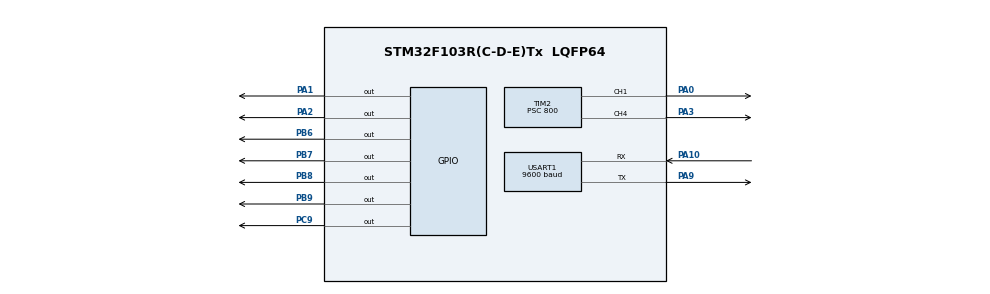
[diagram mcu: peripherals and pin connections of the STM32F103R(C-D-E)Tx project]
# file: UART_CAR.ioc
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Mcu.Family=STM32F1
Mcu.Name=STM32F103R(C-D-E)Tx
Mcu.Package=LQFP64
NVIC.PriorityGroup=NVIC_PRIORITYGROUP_4
NVIC.USART1_IRQn=true\:0\:0\:false
PA0-WKUP.Signal=S_TIM2_CH1_ETR
PA1.Signal=GPIO_Output
PA10.Mode=Asynchronous
PA10.Signal=USART1_RX
PA13.Mode=Serial_Wire
PA13.Signal=SYS_JTMS-SWDIO
PA14.Mode=Serial_Wire
PA14.Signal=SYS_JTCK-SWCLK
PA2.Signal=GPIO_Output
PA3.Signal=S_TIM2_CH4
PA9.Mode=Asynchronous
PA9.Signal=USART1_TX
PB6.Signal=GPIO_Output
PB7.Signal=GPIO_Output
PB8.Signal=GPIO_Output
PB9.Signal=GPIO_Output
PC9.Signal=GPIO_Output
ProjectManager.TargetToolchain=MDK-ARM V5
RCC.APB1Freq_Value=8000000
RCC.APB2Freq_Value=8000000
SH.S_TIM2_CH1_ETR.0=TIM2_CH1,PWM Generation1 CH1
SH.S_TIM2_CH4.0=TIM2_CH4,PWM Generation4 CH4
TIM2.Channel-PWM\ Generation4\ CH4=TIM_CHANNEL_4
TIM2.Period=999
TIM2.Prescaler=800
TIM2.Pulse-PWM\ Generation1\ CH1=999
TIM2.Pulse-PWM\ Generation4\ CH4=999
USART1.BaudRate=9600
board=UART_CAR

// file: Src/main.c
/**
  ******************************************************************************
  * File Name          : main.c
  * Description        : Main program body
  ******************************************************************************
  *
  * COPYRIGHT(c) 2021 STMicroelectronics
  *
  * Redistribution and use in source and binary forms, with or without modification,
  * are permitted provided that the following conditions are met:
  *   1. Redistributions of source code must retain the above copyright notice,
  *      this list of conditions and the following disclaimer.
  *   2. Redistributions in binary form must reproduce the above copyright notice,
  *      this list of conditions and the following disclaimer in the documentation
  *      and/or other materials provided with the distribution.
  *   3. Neither the name of STMicroelectronics nor the names of its contributors
  *      may be used to endorse or promote products derived from this software
  *      without specific prior written permission.
  *
  * THIS SOFTWARE IS PROVIDED BY THE COPYRIGHT HOLDERS AND CONTRIBUTORS "AS IS"
  * AND ANY EXPRESS OR IMPLIED WARRANTIES, INCLUDING, BUT NOT LIMITED TO, THE
  * IMPLIED WARRANTIES OF MERCHANTABILITY AND FITNESS FOR A PARTICULAR PURPOSE ARE
  * DISCLAIMED. IN NO EVENT SHALL THE COPYRIGHT HOLDER OR CONTRIBUTORS BE LIABLE
  * FOR ANY DIRECT, INDIRECT, INCIDENTAL, SPECIAL, EXEMPLARY, OR CONSEQUENTIAL
  * DAMAGES (INCLUDING, BUT NOT LIMITED TO, PROCUREMENT OF SUBSTITUTE GOODS OR
  * SERVICES; LOSS OF USE, DATA, OR PROFITS; OR BUSINESS INTERRUPTION) HOWEVER
  * CAUSED AND ON ANY THEORY OF LIABILITY, WHETHER IN CONTRACT, STRICT LIABILITY,
  * OR TORT (INCLUDING NEGLIGENCE OR OTHERWISE) ARISING IN ANY WAY OUT OF THE USE
  * OF THIS SOFTWARE, EVEN IF ADVISED OF THE POSSIBILITY OF SUCH DAMAGE.
  *
  ******************************************************************************
  */
#include "stm32f1xx_hal.h"

/* USER CODE BEGIN Includes */
#define MOTOR_A_EN_GPIO GPIOA
#define MOTOR_A_EN_PIN GPIO_PIN_0

#define MOTOR_A_CON1_GPIO GPIOA
#define MOTOR_A_CON1_PIN GPIO_PIN_2

#define MOTOR_A_CON2_GPIO GPIOB
#define MOTOR_A_CON2_PIN GPIO_PIN_9

#define MOTOR_B_CON1_GPIO GPIOA
#define MOTOR_B_CON1_PIN GPIO_PIN_1

#define MOTOR_B_CON2_GPIO GPIOC
#define MOTOR_B_CON2_PIN GPIO_PIN_9

#define MOTOR_B_EN_GPIO GPIOA
#define MOTOR_B_EN_PIN GPIO_PIN_3
/* USER CODE END Includes */

TIM_HandleTypeDef htim2;

UART_HandleTypeDef huart1;

/* USER CODE BEGIN PV */
/* Private variables ---------------------------------------------------------*/

/* USER CODE END PV */

void SystemClock_Config(void);
static void MX_GPIO_Init(void);
static void MX_TIM2_Init(void);
static void MX_USART1_UART_Init(void);

/* USER CODE BEGIN PFP */
/* Private function prototypes -----------------------------------------------*/
void Change_Pulse(uint16_t left,uint16_t right);
void go_left(void);
void go_right(void);
void Straight(void);
void StraightB(void);
void Stop(void);

/* USER CODE END PFP */

/* USER CODE BEGIN 0 */
uint8_t c[2] = {0};
/* USER CODE END 0 */

int main(void)
{

  /* MCU Configuration----------------------------------------------------------*/

  /* Reset of all peripherals, Initializes the Flash interface and the Systick. */
  HAL_Init();

  /* Configure the system clock */
  SystemClock_Config();

  /* Initialize all configured peripherals */
  MX_GPIO_Init();
  MX_TIM2_Init();
  MX_USART1_UART_Init();

  /* USER CODE BEGIN 2 */
	HAL_TIM_PWM_Start(&htim2, TIM_CHANNEL_1);
	HAL_TIM_PWM_Start(&htim2, TIM_CHANNEL_4);

	HAL_GPIO_WritePin(GPIOB,GPIO_PIN_6,GPIO_PIN_SET);
	HAL_GPIO_WritePin(GPIOB,GPIO_PIN_7,GPIO_PIN_SET);
	HAL_GPIO_WritePin(GPIOB,GPIO_PIN_8,GPIO_PIN_SET);
  /* USER CODE END 2 */

  /* Infinite loop */
  while (1)
  {
		HAL_UART_Receive_IT(&huart1, c, 2);
  }

}

/** System Clock Configuration
*/
void SystemClock_Config(void)
{

  RCC_OscInitTypeDef RCC_OscInitStruct;
  RCC_ClkInitTypeDef RCC_ClkInitStruct;

  RCC_OscInitStruct.OscillatorType = RCC_OSCILLATORTYPE_HSI;
  RCC_OscInitStruct.HSIState = RCC_HSI_ON;
  RCC_OscInitStruct.HSICalibrationValue = 16;
  RCC_OscInitStruct.PLL.PLLState = RCC_PLL_NONE;
  HAL_RCC_OscConfig(&RCC_OscInitStruct);

  RCC_ClkInitStruct.ClockType = RCC_CLOCKTYPE_SYSCLK;
  RCC_ClkInitStruct.SYSCLKSource = RCC_SYSCLKSOURCE_HSI;
  RCC_ClkInitStruct.AHBCLKDivider = RCC_SYSCLK_DIV1;
  RCC_ClkInitStruct.APB1CLKDivider = RCC_HCLK_DIV1;
  RCC_ClkInitStruct.APB2CLKDivider = RCC_HCLK_DIV1;
  HAL_RCC_ClockConfig(&RCC_ClkInitStruct, FLASH_LATENCY_0);

  HAL_SYSTICK_Config(HAL_RCC_GetHCLKFreq()/1000);

  HAL_SYSTICK_CLKSourceConfig(SYSTICK_CLKSOURCE_HCLK);

}

/* TIM2 init function */
void MX_TIM2_Init(void)
{

  TIM_MasterConfigTypeDef sMasterConfig;
  TIM_OC_InitTypeDef sConfigOC;

  htim2.Instance = TIM2;
  htim2.Init.Prescaler = 800;
  htim2.Init.CounterMode = TIM_COUNTERMODE_UP;
  htim2.Init.Period = 999;
  htim2.Init.ClockDivision = TIM_CLOCKDIVISION_DIV1;
  HAL_TIM_PWM_Init(&htim2);

  sMasterConfig.MasterOutputTrigger = TIM_TRGO_RESET;
  sMasterConfig.MasterSlaveMode = TIM_MASTERSLAVEMODE_DISABLE;
  HAL_TIMEx_MasterConfigSynchronization(&htim2, &sMasterConfig);

  sConfigOC.OCMode = TIM_OCMODE_PWM1;
  sConfigOC.Pulse = 999;
  sConfigOC.OCPolarity = TIM_OCPOLARITY_HIGH;
  sConfigOC.OCFastMode = TIM_OCFAST_DISABLE;
  HAL_TIM_PWM_ConfigChannel(&htim2, &sConfigOC, TIM_CHANNEL_1);

  HAL_TIM_PWM_ConfigChannel(&htim2, &sConfigOC, TIM_CHANNEL_4);

}

/* USART1 init function */
void MX_USART1_UART_Init(void)
{

  huart1.Instance = USART1;
  huart1.Init.BaudRate = 9600;
  huart1.Init.WordLength = UART_WORDLENGTH_8B;
  huart1.Init.StopBits = UART_STOPBITS_1;
  huart1.Init.Parity = UART_PARITY_NONE;
  huart1.Init.Mode = UART_MODE_TX_RX;
  huart1.Init.HwFlowCtl = UART_HWCONTROL_NONE;
  huart1.Init.OverSampling = UART_OVERSAMPLING_16;
  HAL_UART_Init(&huart1);

}

/** Configure pins as
        * Analog
        * Input
        * Output
        * EVENT_OUT
        * EXTI
*/
void MX_GPIO_Init(void)
{

  GPIO_InitTypeDef GPIO_InitStruct;

  /* GPIO Ports Clock Enable */
  __GPIOA_CLK_ENABLE();
  __GPIOC_CLK_ENABLE();
  __GPIOB_CLK_ENABLE();

  /*Configure GPIO pins : PA1 PA2 */
  GPIO_InitStruct.Pin = GPIO_PIN_1|GPIO_PIN_2;
  GPIO_InitStruct.Mode = GPIO_MODE_OUTPUT_PP;
  GPIO_InitStruct.Speed = GPIO_SPEED_LOW;
  HAL_GPIO_Init(GPIOA, &GPIO_InitStruct);

  /*Configure GPIO pin : PC9 */
  GPIO_InitStruct.Pin = GPIO_PIN_9;
  GPIO_InitStruct.Mode = GPIO_MODE_OUTPUT_PP;
  GPIO_InitStruct.Speed = GPIO_SPEED_LOW;
  HAL_GPIO_Init(GPIOC, &GPIO_InitStruct);

  /*Configure GPIO pins : PB6 PB7 PB8 PB9 */
  GPIO_InitStruct.Pin = GPIO_PIN_6|GPIO_PIN_7|GPIO_PIN_8|GPIO_PIN_9;
  GPIO_InitStruct.Mode = GPIO_MODE_OUTPUT_PP;
  GPIO_InitStruct.Speed = GPIO_SPEED_LOW;
  HAL_GPIO_Init(GPIOB, &GPIO_InitStruct);

}

/* USER CODE BEGIN 4 */
void HAL_UART_RxCpltCallback(UART_HandleTypeDef *huart)
{
	if(huart ==&huart1)
	{

		if(c[0] == 'q')
		{
			Straight();

		}
		else if(c[0] == 'h')
		{
			StraightB();

		}
		else if(c[0] == 'l')
		{
			go_left();

		}
		else if(c[0] == 'r')
		{
			go_right();

		}
		else if(c[0] == 's')
		{
			Stop();

		}

	}
}
void Change_Pulse(uint16_t left,uint16_t right)
{
	__HAL_TIM_SetCompare(&htim2, TIM_CHANNEL_1, left);
  __HAL_TIM_SetCompare(&htim2, TIM_CHANNEL_4, right);

}
//-----------------------------------------------
void go_left(void)//向左矫正
 {
	Change_Pulse(0,200);
  HAL_GPIO_WritePin(MOTOR_A_CON1_GPIO, MOTOR_A_CON1_PIN, GPIO_PIN_RESET);
	HAL_GPIO_WritePin(MOTOR_A_CON2_GPIO, MOTOR_A_CON2_PIN, GPIO_PIN_SET);
	HAL_GPIO_WritePin(MOTOR_B_CON1_GPIO, MOTOR_B_CON1_PIN, GPIO_PIN_RESET);
	HAL_GPIO_WritePin(MOTOR_B_CON2_GPIO, MOTOR_B_CON2_PIN, GPIO_PIN_SET);
 }
//------------------------------------------------
 void go_right(void)//向右矫正
 {
	Change_Pulse(200,0);
  HAL_GPIO_WritePin(MOTOR_A_CON1_GPIO, MOTOR_A_CON1_PIN, GPIO_PIN_RESET);
	HAL_GPIO_WritePin(MOTOR_A_CON2_GPIO, MOTOR_A_CON2_PIN, GPIO_PIN_SET);
	HAL_GPIO_WritePin(MOTOR_B_CON1_GPIO, MOTOR_B_CON1_PIN, GPIO_PIN_RESET);
	HAL_GPIO_WritePin(MOTOR_B_CON2_GPIO, MOTOR_B_CON2_PIN, GPIO_PIN_SET);
 }
//-----------------------------------------------------
void Straight(void)	//直行
{
	Change_Pulse(200,200);
	HAL_GPIO_WritePin(MOTOR_A_CON1_GPIO, MOTOR_A_CON1_PIN, GPIO_PIN_RESET);
	HAL_GPIO_WritePin(MOTOR_A_CON2_GPIO, MOTOR_A_CON2_PIN, GPIO_PIN_SET);
	HAL_GPIO_WritePin(MOTOR_B_CON1_GPIO, MOTOR_B_CON1_PIN, GPIO_PIN_RESET);
	HAL_GPIO_WritePin(MOTOR_B_CON2_GPIO, MOTOR_B_CON2_PIN, GPIO_PIN_SET);
}
void StraightB(void)	//直行往后
{
	Change_Pulse(200,200);
	HAL_GPIO_WritePin(MOTOR_A_CON1_GPIO, MOTOR_A_CON1_PIN, GPIO_PIN_SET);
	HAL_GPIO_WritePin(MOTOR_A_CON2_GPIO, MOTOR_A_CON2_PIN, GPIO_PIN_RESET);
	HAL_GPIO_WritePin(MOTOR_B_CON1_GPIO, MOTOR_B_CON1_PIN, GPIO_PIN_SET);
	HAL_GPIO_WritePin(MOTOR_B_CON2_GPIO, MOTOR_B_CON2_PIN, GPIO_PIN_RESET);
}
void Stop(void)	//停止
{
	Change_Pulse(0,0);
	HAL_GPIO_WritePin(MOTOR_A_CON1_GPIO, MOTOR_A_CON1_PIN, GPIO_PIN_RESET);
	HAL_GPIO_WritePin(MOTOR_A_CON2_GPIO, MOTOR_A_CON2_PIN, GPIO_PIN_RESET);
	HAL_GPIO_WritePin(MOTOR_B_CON1_GPIO, MOTOR_B_CON1_PIN, GPIO_PIN_RESET);
	HAL_GPIO_WritePin(MOTOR_B_CON2_GPIO, MOTOR_B_CON2_PIN, GPIO_PIN_RESET);
}

/* USER CODE END 4 */

/************************ (C) COPYRIGHT STMicroelectronics *****END OF FILE****/
